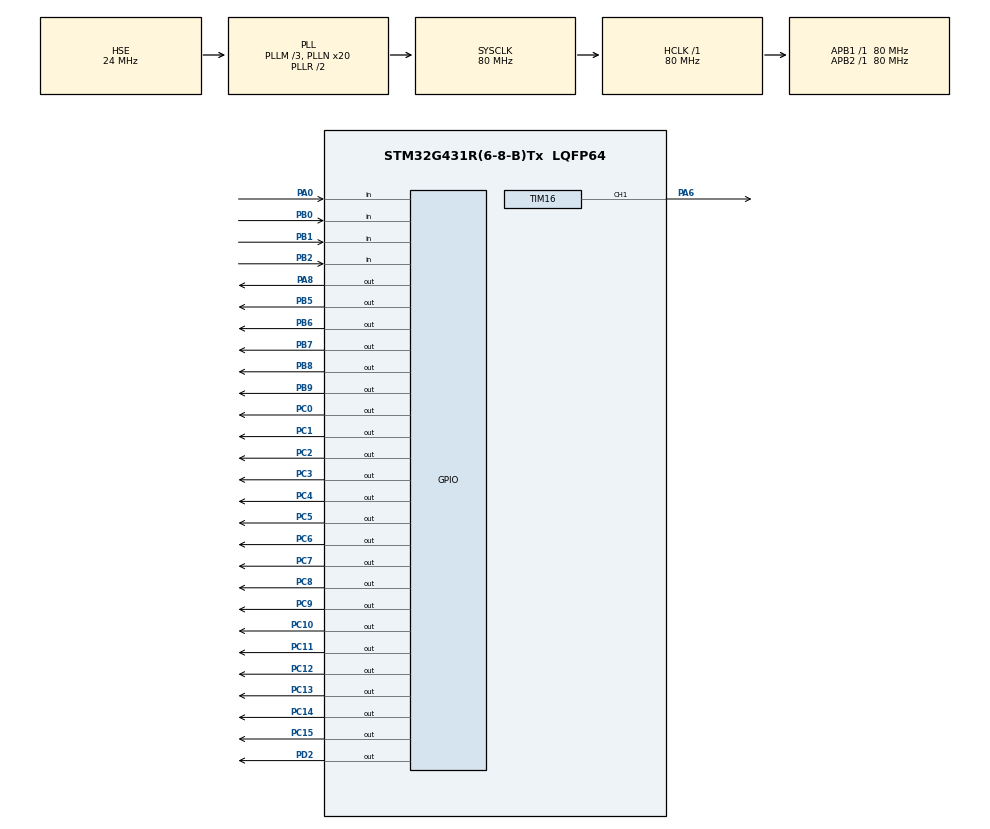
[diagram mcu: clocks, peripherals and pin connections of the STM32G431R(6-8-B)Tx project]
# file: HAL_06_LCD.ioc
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Mcu.Family=STM32G4
Mcu.Name=STM32G431R(6-8-B)Tx
Mcu.Package=LQFP64
NVIC.PriorityGroup=NVIC_PRIORITYGROUP_4
NVIC.RTC_Alarm_IRQn=true\:0\:0\:false\:false\:true\:true\:true\:true
NVIC.TIM1_BRK_TIM15_IRQn=true\:0\:0\:false\:false\:true\:true\:true\:true
NVIC.TIM3_IRQn=true\:0\:0\:false\:false\:true\:true\:true\:true
PA0.Signal=GPIO_Input
PA13.Mode=Serial_Wire
PA13.Signal=SYS_JTMS-SWDIO
PA14.Mode=Serial_Wire
PA14.Signal=SYS_JTCK-SWCLK
PA6.Signal=S_TIM16_CH1
PA8.Signal=GPIO_Output
PB0.Signal=GPIO_Input
PB1.Signal=GPIO_Input
PB2.Signal=GPIO_Input
PB5.Signal=GPIO_Output
PB6.Signal=GPIO_Output
PB7.Signal=GPIO_Output
PB8-BOOT0.Signal=GPIO_Output
PB9.Signal=GPIO_Output
PC0.Signal=GPIO_Output
PC1.Signal=GPIO_Output
PC10.Signal=GPIO_Output
PC11.Signal=GPIO_Output
PC12.Signal=GPIO_Output
PC13.Signal=GPIO_Output
PC14-OSC32_IN.Signal=GPIO_Output
PC15-OSC32_OUT.Signal=GPIO_Output
PC2.Signal=GPIO_Output
PC3.Signal=GPIO_Output
PC4.Signal=GPIO_Output
PC5.Signal=GPIO_Output
PC6.Signal=GPIO_Output
PC7.Signal=GPIO_Output
PC8.Signal=GPIO_Output
PC9.Signal=GPIO_Output
PD2.Signal=GPIO_Output
PF0-OSC_IN.Mode=HSE-External-Oscillator
PF0-OSC_IN.Signal=RCC_OSC_IN
PF1-OSC_OUT.Mode=HSE-External-Oscillator
PF1-OSC_OUT.Signal=RCC_OSC_OUT
ProjectManager.HeapSize=0x200
ProjectManager.StackSize=0x400
ProjectManager.TargetToolchain=MDK-ARM V5.27
RCC.ADC12Freq_Value=80000000
RCC.AHBFreq_Value=80000000
RCC.APB1Freq_Value=80000000
RCC.APB1TimFreq_Value=80000000
RCC.APB2Freq_Value=80000000
RCC.APB2TimFreq_Value=80000000
RCC.CortexFreq_Value=80000000
RCC.EXTERNAL_CLOCK_VALUE=12288000
RCC.HCLKFreq_Value=80000000
RCC.HSE_VALUE=24000000
RCC.HSI48_VALUE=48000000
RCC.HSI_VALUE=16000000
RCC.LSE_VALUE=32768
RCC.PLLM=RCC_PLLM_DIV3
RCC.PLLN=20
RCC.PLLSourceVirtual=RCC_PLLSOURCE_HSE
RCC.SYSCLKFreq_VALUE=80000000
RCC.SYSCLKSource=RCC_SYSCLKSOURCE_PLLCLK
RCC.USBFreq_Value=80000000
RCC.VCOOutputFreq_Value=160000000
RTC.Alarm-Alarm\ A=RTC_ALARM_A
RTC.AlarmMaskDateWeekDay-Alarm\ A=RTC_ALARMMASK_DATEWEEKDAY
RTC.AlarmMaskHours-Alarm\ A=RTC_ALARMMASK_HOURS
RTC.AlarmMaskMinutes-Alarm\ A=RTC_ALARMMASK_MINUTES
RTC.Seconds_A-Alarm\ A=1
SH.S_TIM16_CH1.0=TIM16_CH1,PWM Generation1 CH1
TIM15.AutoReloadPreload=TIM_AUTORELOAD_PRELOAD_ENABLE
TIM15.PeriodNoDither=1000-4
TIM15.Prescaler=80-4
TIM16.AutoReloadPreload=TIM_AUTORELOAD_PRELOAD_ENABLE
TIM16.Channel=TIM_CHANNEL_1
TIM16.PeriodNoDither=100-1
TIM16.Prescaler=800-1
TIM3.AutoReloadPreload=TIM_AUTORELOAD_PRELOAD_ENABLE
TIM3.PeriodNoDither=10000-1
TIM3.Prescaler=8000-1
VP_RTC_VS_RTC_Activate.Mode=RTC_Enabled
VP_RTC_VS_RTC_Alarm_A_Intern.Mode=Alarm A
VP_RTC_VS_RTC_Calendar.Mode=RTC_Calendar
VP_SYS_VS_DBSignals.Mode=DisableDeadBatterySignals
VP_TIM15_VS_ClockSourceINT.Mode=Internal
VP_TIM16_VS_ClockSourceINT.Mode=Enable_Timer
VP_TIM3_VS_ClockSourceINT.Mode=Internal
board=custom

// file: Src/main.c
/* USER CODE BEGIN Header */
/**
  ******************************************************************************
  * @file           : main.c
  * @brief          : Main program body
  ******************************************************************************
  * @attention
  *
  * <h2><center>&copy; Copyright (c) 2021 STMicroelectronics.
  * All rights reserved.</center></h2>
  *
  * This software component is licensed by ST under BSD 3-Clause license,
  * the "License"; You may not use this file except in compliance with the
  * License. You may obtain a copy of the License at:
  *                        opensource.org/licenses/BSD-3-Clause
  *
  ******************************************************************************
  */
/* USER CODE END Header */

#include "main.h"
#include "rtc.h"
#include "tim.h"
#include "gpio.h"

/* USER CODE BEGIN Includes */
#include "stdio.h"
#include "string.h"
#include "i2c_hal.h"
/* USER CODE END Includes */

/* USER CODE BEGIN PTD */
struct KEYS{
	_Bool single_flag;
	_Bool long_flag;
	_Bool key_sta;

	int key_judge;
	int long_time;
	int key_number;
}key[4]={0,0,0,0,0,0};

struct TIME{
	int hour;
	int min;
	int sec;
	int flag;
	int number;

	int change_highlight;
	int status;
	int time_flag;
}counter[5]={0,0,0,0,0,0,0,0},counter_temp[5]={0,0,0,0,0,0,0,0},counter_temp2[5]={0,0,0,0,0,0,0,0};

/* USER CODE END PTD */
int all_text=0;
/* USER CODE BEGIN PD */
char text[20];
/* USER CODE END PD */

/* USER CODE BEGIN PV */
_Bool led_flag=0;
int led_count=0;

_Bool pwm_flag=0;
int lcd_cut=0;

_Bool lcd_setting=0;

_Bool key1_to_key2_flag=1;
_Bool short_to_long_key2_flag=0;
/* USER CODE END PV */

void SystemClock_Config(void);

/* USER CODE BEGIN 0 */
void led_disp(GPIO_TypeDef *GPIOx, uint16_t GPIO_Pin, GPIO_PinState PinState){
		HAL_GPIO_WritePin(GPIOD,GPIO_PIN_2,GPIO_PIN_SET);
			HAL_GPIO_WritePin(GPIOx,GPIO_Pin,PinState);
		HAL_GPIO_WritePin(GPIOD,GPIO_PIN_2,GPIO_PIN_RESET);
}
void led_off(){
		HAL_GPIO_WritePin(GPIOD,GPIO_PIN_2,GPIO_PIN_SET);
			HAL_GPIO_WritePin(GPIOC,GPIO_PIN_13|GPIO_PIN_14|GPIO_PIN_15|GPIO_PIN_9|GPIO_PIN_10|GPIO_PIN_11|GPIO_PIN_12,GPIO_PIN_SET);
		HAL_GPIO_WritePin(GPIOD,GPIO_PIN_2,GPIO_PIN_RESET);
}

void led_proc(){
	if(led_flag)
	{
		if(led_count<=500)
		led_disp(GPIOC,GPIO_PIN_8,GPIO_PIN_SET);
		else if(led_count>500&&led_count<=1000)
		led_disp(GPIOC,GPIO_PIN_8,GPIO_PIN_RESET);
		else
			led_count=0;
	}
	else
	led_disp(GPIOC,GPIO_PIN_8,GPIO_PIN_SET);
}

void pwm_proc(){
	if(pwm_flag)
		__HAL_TIM_SET_COMPARE(&htim16,TIM_CHANNEL_1,80);
	else
		__HAL_TIM_SET_COMPARE(&htim16,TIM_CHANNEL_1,0);

}
void key_proc(){
	if(key[0].single_flag==1&&lcd_setting==0)
	{
		lcd_cut=(lcd_cut+1)%5;
		counter[lcd_cut].change_highlight=0;
		key1_to_key2_flag=1;
		key[0].single_flag=0;
	}
	else if(key[0].single_flag==1)
	{
		key[0].single_flag=0;
	}
	//////////////////////////////B2    seeting 数字
	if(key[1].single_flag==1)
	{
		if(key1_to_key2_flag==1)
		{
			counter_temp[lcd_cut].hour=counter[lcd_cut].hour;
			counter_temp[lcd_cut].min=counter[lcd_cut].min;
			counter_temp[lcd_cut].sec=counter[lcd_cut].sec;
			key1_to_key2_flag=0;
			short_to_long_key2_flag=1;
		}
		lcd_setting=1;
		counter[lcd_cut].flag=1;
		counter[lcd_cut].change_highlight++;
		if(counter[lcd_cut].change_highlight>3)
			counter[lcd_cut].change_highlight=1;
		key[1].single_flag=0;
	}
	if(key[1].long_flag==1)
	{
			counter[lcd_cut].hour=counter_temp[lcd_cut].hour;
			counter[lcd_cut].min=counter_temp[lcd_cut].min;
			counter[lcd_cut].sec=counter_temp[lcd_cut].sec;
		if(short_to_long_key2_flag)
		{
		//添加eeprom
			switch(lcd_cut)
			{
				case 0:
				{
					write_eeprom(0x01,counter_temp[lcd_cut].hour);
					HAL_Delay(5);
					write_eeprom(0x02,counter_temp[lcd_cut].min);
					HAL_Delay(5);
					write_eeprom(0x03,counter_temp[lcd_cut].sec);
					HAL_Delay(5);
				}break;
				case 1:
				{
					write_eeprom(0x04,counter_temp[lcd_cut].hour);
					HAL_Delay(5);
					write_eeprom(0x05,counter_temp[lcd_cut].min);
					HAL_Delay(5);
					write_eeprom(0x06,counter_temp[lcd_cut].sec);
					HAL_Delay(5);
				}break;
				case 2:
				{
					write_eeprom(0x07,counter_temp[lcd_cut].hour);
					HAL_Delay(5);
					write_eeprom(0x08,counter_temp[lcd_cut].min);
					HAL_Delay(5);
					write_eeprom(0x09,counter_temp[lcd_cut].sec);
					HAL_Delay(5);
				}break;
				case 3:
				{
					write_eeprom(0x11,counter_temp[lcd_cut].hour);
					HAL_Delay(5);
					write_eeprom(0x12,counter_temp[lcd_cut].min);
					HAL_Delay(5);
					write_eeprom(0x13,counter_temp[lcd_cut].sec);
					HAL_Delay(5);
				}break;
				case 4:
				{
					write_eeprom(0x14,counter_temp[lcd_cut].hour);
					HAL_Delay(5);
					write_eeprom(0x15,counter_temp[lcd_cut].min);
					HAL_Delay(5);
					write_eeprom(0x16,counter_temp[lcd_cut].sec);
					HAL_Delay(5);
				}break;
			}
			write_eeprom(lcd_cut*5,counter_temp[lcd_cut].hour);
			HAL_Delay(5);
			write_eeprom(lcd_cut*5<<1,counter_temp[lcd_cut].min);
			HAL_Delay(5);
			write_eeprom(lcd_cut*5<<2,counter_temp[lcd_cut].sec);
			HAL_Delay(5);
			short_to_long_key2_flag=0;
		}

		lcd_setting=0;
		counter[lcd_cut].flag=0;
		key[1].long_flag=0;
	}

	//////////////////////////////B3
	if(key[2].single_flag==1&&lcd_setting==1)
	{
		all_text++;
		switch(counter[lcd_cut].change_highlight)
		{
			case 1:
			{
				counter_temp[lcd_cut].sec++;
				if(counter_temp[lcd_cut].sec>60)
					counter_temp[lcd_cut].sec=0;
			}break;
			case 2:
			{
				counter_temp[lcd_cut].min++;
				if(counter_temp[lcd_cut].min>60)
					counter_temp[lcd_cut].min=0;
			}break;
			case 3:
			{
				counter_temp[lcd_cut].hour++;
				if(counter_temp[lcd_cut].hour>=24)
					counter_temp[lcd_cut].hour=0;
			}break;
		};
		key[2].single_flag=0;
	}
	else if(key[2].single_flag==1)
		key[2].single_flag=0;

	if(key[2].long_flag==1&&lcd_setting==1)
	{
		switch(counter[lcd_cut].change_highlight)
		{
			case 1:(counter_temp[lcd_cut].sec>59)?(counter_temp[lcd_cut].sec=0):(counter_temp[lcd_cut].sec=counter_temp[lcd_cut].sec+1);break;
			case 2:(counter_temp[lcd_cut].min>59)?(counter_temp[lcd_cut].min=0):(counter_temp[lcd_cut].min=counter_temp[lcd_cut].min+1);break;
			case 3:(counter_temp[lcd_cut].hour>23)?(counter_temp[lcd_cut].hour=0):(counter_temp[lcd_cut].hour=counter_temp[lcd_cut].hour+1);break;
//			case 1:
//			{
//				counter_temp[lcd_cut].sec++;
//				if(counter_temp[lcd_cut].sec>60)
//					counter_temp[lcd_cut].sec=0;
//			}000000000000000000000000break;
//			case 2:
//			{
//				counter_temp[lcd_cut].min++;
//				if(counter_temp[lcd_cut].min>60)
//					counter_temp[lcd_cut].min=0;
//			}break;
//			case 3:
//			{
//				counter_temp[lcd_cut].hour++;
//				if(counter_temp[lcd_cut].hour>=24)
//					counter_temp[lcd_cut].hour=0;
//			}break;
		};
		key[2].long_flag=0;
	}
	else if(key[2].long_flag==1)
		key[2].long_flag=0;

	////////////////////////////B4
	if(key[3].single_flag==1&&lcd_setting==0)
	{
		key[3].key_number++;
		key[3].single_flag=0;
	}
	else if(key[3].single_flag==1)
	{
		key[3].single_flag=0;
	}

	if(key[3].key_number%2!=0)
	{
		led_flag=1;
		pwm_flag=1;
		counter[lcd_cut].time_flag=1;
		counter[lcd_cut].status=1;
	}
	else if(key[3].key_number%2==0&&key[3].key_number!=0)
	{
		led_flag=0;
		pwm_flag=0;
		counter[lcd_cut].time_flag=0;
		counter[lcd_cut].status=2;
	}
	else if(key[3].key_number==0)
	{
		led_flag=0;
		pwm_flag=0;
		counter_temp2[lcd_cut].hour=counter[lcd_cut].hour;
		counter_temp2[lcd_cut].min=counter[lcd_cut].min;
		counter_temp2[lcd_cut].sec=counter[lcd_cut].sec;

		counter[lcd_cut].time_flag=0;
		counter[lcd_cut].status=0;
	}

	if(key[3].long_flag==1)
	{
		counter[lcd_cut].hour=counter_temp2[lcd_cut].hour;
		counter[lcd_cut].min=counter_temp2[lcd_cut].min;
		counter[lcd_cut].sec=counter_temp2[lcd_cut].sec;

		key[3].key_number=0;
		key[3].long_flag=0;
	}
}

void highlight(char *str,u8 line, u8 column){
	int i=0;
	for(i=0;i<20;i++)
	{
		if(i!=column)
			LCD_DisplayChar(line,320-(16*i),str[i]);
	}
	LCD_SetBackColor(Yellow);
	LCD_DisplayChar(line,320-(16*column),str[column]);
	LCD_SetBackColor(White);
}

void highlight_double(char *str,u8 line, u8 column){
	int i=0;
	for(i=0;i<20;i++)
	{
		if(i!=column||i!=(column+1))
			LCD_DisplayChar(line,320-(16*i),str[i]);
	}
	LCD_SetBackColor(Yellow);
	LCD_DisplayChar(line,320-(16*column),str[column]);
	LCD_DisplayChar(line,320-(16*(column+1)),str[column+1]);
	LCD_SetBackColor(White);
}
void lcd_proc(){
	//switch(lcd_cut)
			LCD_SetTextColor(Black);
			sprintf(text,"  NO %d" ,lcd_cut+1);
			LCD_DisplayStringLine(Line0,(unsigned char *)text);

		///////////line2
			LCD_SetTextColor(Black);
			if(lcd_setting)
				sprintf(text,"   %02d:%02d:%02d                            ",counter_temp[lcd_cut].hour,counter_temp[lcd_cut].min,counter_temp[lcd_cut].sec);
			else
				sprintf(text,"   %02d:%02d:%02d                            ",counter[lcd_cut].hour,counter[lcd_cut].min,counter[lcd_cut].sec);

			if(counter[lcd_cut].flag==1)
			{
				switch(counter[lcd_cut].change_highlight)
				{
					case 1://sec
					{
						highlight_double(text,Line2, 9);//9 10
					}break;
					case 2://min
					{
						highlight_double(text,Line2, 6);
					}break;
					case 3://hour
					{
						highlight_double(text,Line2, 3);
					}break;
				}
			}
			else
				LCD_DisplayStringLine(Line2,(unsigned char *)text);
			///////////////////line4
			LCD_SetTextColor(Black);
			if(lcd_setting)
				sprintf(text,"  Setting   ");
			else
			{
				switch(counter[lcd_cut].status)
				{
					case 0:
						sprintf(text,"  Standby   ");break;
					case 1:
						sprintf(text,"  Running   ");break;
					case 2:
						sprintf(text,"  Stop   ");break;
				}
			}
			LCD_DisplayStringLine(Line4,(unsigned char *)text);

}
/* USER CODE END 0 */

int main(void)
{

  /* MCU Configuration--------------------------------------------------------*/

  /* Reset of all peripherals, Initializes the Flash interface and the Systick. */
  HAL_Init();

  /* Configure the system clock */
  SystemClock_Config();

  /* Initialize all configured peripherals */
  MX_GPIO_Init();
  MX_RTC_Init();
  MX_TIM3_Init();
  MX_TIM15_Init();
  MX_TIM16_Init();
  /* USER CODE BEGIN 2 */
	HAL_TIM_Base_Start_IT(&htim3);
	HAL_TIM_Base_Start_IT(&htim15);
	HAL_TIM_PWM_Start(&htim16,TIM_CHANNEL_1);
	__HAL_TIM_SET_COMPARE(&htim16,TIM_CHANNEL_1,80);
	LCD_Init();
  /* USER CODE END 2 */

  /* Infinite loop */
  /* USER CODE BEGIN WHILE */

	LCD_Clear(White);
	LCD_SetBackColor(White);
	LCD_SetTextColor(Black);
	if(read_eeprom(0xff)!=30)
	{
		for(int i=1;i<=5;i++)
		{
			counter[i].hour=0;
			counter[i].min=0;
			counter[i].sec=0;
		}
		write_eeprom(0xff,30);
	}
	else
	{
		for(int i=0;i<=5;i++)
		{
			switch(i)
			{
				case 0:
				{
					counter[i].hour=read_eeprom(0x01);
					HAL_Delay(5);
					counter[i].min=read_eeprom(0x02);
					HAL_Delay(5);
					counter[i].sec=read_eeprom(0x03);
					HAL_Delay(5);
				}break;
				case 1:
				{
					counter[i].hour=read_eeprom(0x04);
					HAL_Delay(5);
					counter[i].min=read_eeprom(0x05);
					HAL_Delay(5);
					counter[i].sec=read_eeprom(0x06);
					HAL_Delay(5);
				}break;
				case 2:
				{
					counter[i].hour=read_eeprom(0x07);
					HAL_Delay(5);
					counter[i].min=read_eeprom(0x08);
					HAL_Delay(5);
					counter[i].sec=read_eeprom(0x09);
					HAL_Delay(5);
				}break;
				case 3:
				{
					counter[i].hour=read_eeprom(0x11);
					HAL_Delay(5);
					counter[i].min=read_eeprom(0x12);
					HAL_Delay(5);
					counter[i].sec=read_eeprom(0x13);
					HAL_Delay(5);
				}break;
				case 4:
				{
					counter[i].hour=read_eeprom(0x14);
					HAL_Delay(5);
					counter[i].min=read_eeprom(0x15);
					HAL_Delay(5);
					counter[i].sec=read_eeprom(0x16);
					HAL_Delay(5);
				}break;
			}
		}
	}

  while (1)
  {
		led_off();
    /* USER CODE END WHILE */

    /* USER CODE BEGIN 3 */
		key_proc();
		led_proc();
		lcd_proc();
  }
  /* USER CODE END 3 */
}

void SystemClock_Config(void)
{
  RCC_OscInitTypeDef RCC_OscInitStruct = {0};
  RCC_ClkInitTypeDef RCC_ClkInitStruct = {0};
  RCC_PeriphCLKInitTypeDef PeriphClkInit = {0};

  /** Configure the main internal regulator output voltage
  */
  HAL_PWREx_ControlVoltageScaling(PWR_REGULATOR_VOLTAGE_SCALE1);
  /** Initializes the CPU, AHB and APB busses clocks
  */
  RCC_OscInitStruct.OscillatorType = RCC_OSCILLATORTYPE_LSI|RCC_OSCILLATORTYPE_HSE;
  RCC_OscInitStruct.HSEState = RCC_HSE_ON;
  RCC_OscInitStruct.LSIState = RCC_LSI_ON;
  RCC_OscInitStruct.PLL.PLLState = RCC_PLL_ON;
  RCC_OscInitStruct.PLL.PLLSource = RCC_PLLSOURCE_HSE;
  RCC_OscInitStruct.PLL.PLLM = RCC_PLLM_DIV3;
  RCC_OscInitStruct.PLL.PLLN = 20;
  RCC_OscInitStruct.PLL.PLLP = RCC_PLLP_DIV2;
  RCC_OscInitStruct.PLL.PLLQ = RCC_PLLQ_DIV2;
  RCC_OscInitStruct.PLL.PLLR = RCC_PLLR_DIV2;
  if (HAL_RCC_OscConfig(&RCC_OscInitStruct) != HAL_OK)
  {
    Error_Handler();
  }
  /** Initializes the CPU, AHB and APB busses clocks
  */
  RCC_ClkInitStruct.ClockType = RCC_CLOCKTYPE_HCLK|RCC_CLOCKTYPE_SYSCLK
                              |RCC_CLOCKTYPE_PCLK1|RCC_CLOCKTYPE_PCLK2;
  RCC_ClkInitStruct.SYSCLKSource = RCC_SYSCLKSOURCE_PLLCLK;
  RCC_ClkInitStruct.AHBCLKDivider = RCC_SYSCLK_DIV1;
  RCC_ClkInitStruct.APB1CLKDivider = RCC_HCLK_DIV1;
  RCC_ClkInitStruct.APB2CLKDivider = RCC_HCLK_DIV1;

  if (HAL_RCC_ClockConfig(&RCC_ClkInitStruct, FLASH_LATENCY_3) != HAL_OK)
  {
    Error_Handler();
  }
  /** Initializes the peripherals clocks
  */
  PeriphClkInit.PeriphClockSelection = RCC_PERIPHCLK_RTC;
  PeriphClkInit.RTCClockSelection = RCC_RTCCLKSOURCE_LSI;

  if (HAL_RCCEx_PeriphCLKConfig(&PeriphClkInit) != HAL_OK)
  {
    Error_Handler();
  }
}

/* USER CODE BEGIN 4 */
int key_time=0;
int data=0;
void HAL_TIM_PeriodElapsedCallback(TIM_HandleTypeDef *htim){
	if(htim->Instance==TIM3)
	{
		if(counter[lcd_cut].time_flag==1)
		{
			counter[lcd_cut].sec+=1;
			if(counter[lcd_cut].sec>60)
			{
				counter[lcd_cut].min+=1;
				counter[lcd_cut].sec=0;
			}
			if(counter[lcd_cut].min>60)
			{
				counter[lcd_cut].hour+=1;
				counter[lcd_cut].min=0;
			}
			if(counter[lcd_cut].hour>=24)
				counter[lcd_cut].hour=0;
		}

	}

	if(htim->Instance==TIM15)
	{
		if(led_flag)
			led_count++;
		else
			led_count=0;

		key[0].key_sta=HAL_GPIO_ReadPin(GPIOB,GPIO_PIN_0);
		key[1].key_sta=HAL_GPIO_ReadPin(GPIOB,GPIO_PIN_1);
		key[2].key_sta=HAL_GPIO_ReadPin(GPIOB,GPIO_PIN_2);
		key[3].key_sta=HAL_GPIO_ReadPin(GPIOA,GPIO_PIN_0);

		if(key_time>40)
		{
			for(int i=0;i<4;i++)
			{
				switch(key[i].key_judge)
				{
					case 0:
					{
						key[i].long_time=0;

						if(key[i].key_sta==0)
							key[i].key_judge=1;
					}break;
					case 1:
					{
						if(key[i].key_sta==0)
							key[i].key_judge=2;
						else
							key[i].key_judge=0;
					}break;
					case 2:
					{
						if(key[i].key_sta==1&&key[i].long_time<20)
						{
							key[i].single_flag=1;
							key[i].key_judge=0;
						}
						else if(key[i].key_sta==1&&key[i].long_time>=20)
							key[i].key_judge=0;
						else
						{
							key[i].long_time++;
							if(key[i].long_time>=20)
								key[i].long_flag=1;
						}
					}break;
				}
			}
			key_time=0;
		}
		else
			key_time++;
	}

}
/* USER CODE END 4 */

void Error_Handler(void)
{
}

/************************ (C) COPYRIGHT STMicroelectronics *****END OF FILE****/
